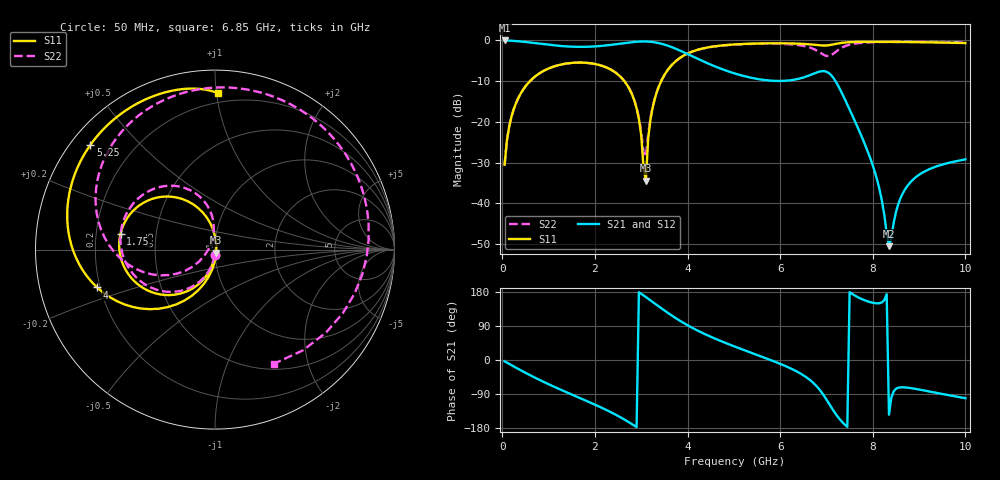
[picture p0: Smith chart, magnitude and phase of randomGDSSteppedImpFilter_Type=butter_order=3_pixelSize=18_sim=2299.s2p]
! freq	dB(S11)	phase(S11)	dB(S12)	phase(S12)
!  dB(S21)	phase(S21)	dB(S22)	phase(S22)
!S-par simulation data
#  GHz  S  DB  R 50
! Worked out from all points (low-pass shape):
!   200 points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, 50 MHz to 10 GHz, reference 50 ohm
!   highest |S21| = -0.01 dB at 50 MHz (marker M1); lowest = -50.5 dB at 8.35 GHz (marker M2)
!   |S21| within 3 dB of the highest: start of sweep to 3.936 GHz
!   lowest |S11| = -34.5 dB at 3.1 GHz (marker M3), VSWR 1.04, Z = 50.6 - j1.79 ohm
!   |S11| at or under -10 dB: start of sweep to 597.4 MHz; 2.636 GHz to 3.432 GHz (796 MHz wide, 26.2 % of centre)
!   |S22| runs from -30.5 to -0.3 dB; largest |S21 - S12| = 0
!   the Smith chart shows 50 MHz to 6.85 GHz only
!   S11 on the Smith chart (normalised r, x): 50 MHz: 0.99, -0.06; 1.75 GHz: 0.31, +0.08; 4 GHz: 0.19, -0.15; 5.25 GHz: 0.06, +0.36; 6.85 GHz: 0.14, +1.01
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0.05  -30.50 -93.6  -0.01 -3.5  -0.01 -3.5  -30.51 -93.9
0.2  -18.63 -103.9  -0.08 -13.8  -0.08 -13.8  -18.63 -105.1
0.5  -11.28 -123.0  -0.38 -33.7  -0.38 -33.7  -11.28 -125.9
1.75  -5.45 170.5  -1.57 -104.2  -1.57 -104.2  -5.45 160.2
2.75  -12.02 112.1  -0.49 -165.4  -0.49 -165.4  -11.96 100.2
2.95  -19.27 95.0  -0.29 178.8  -0.29 178.8  -18.93 93.3
3.1  -34.46 -69.5  -0.26 166.1  -0.26 166.1  -28.56 -179.3
3.2  -19.37 -97.5  -0.33 157.3  -0.33 157.3  -19.01 -143.1
3.4  -10.77 -116.8  -0.71 139.6  -0.71 139.6  -10.73 -150.8
4  -3.22 -162.2  -3.35 91.7  -3.35 91.7  -3.23 163.0
5.05  -0.96 147.4  -8.22 34.0  -8.22 34.0  -0.99 100.5
5.25  -0.85 140.0  -8.84 24.8  -8.84 24.8  -0.89 89.9
6.1  -0.71 111.2  -9.91 -15.2  -9.91 -15.2  -0.88 40.0
6.7  -1.02 92.5  -8.27 -58.7  -8.27 -58.7  -1.99 -26.5
6.85  -1.19 88.9  -7.65 -78.2  -7.65 -78.2  -2.90 -62.9
7  -1.24 86.5  -7.68 -104.2  -7.68 -104.2  -3.82 -119.3
7.15  -0.98 83.9  -9.21 -133.4  -9.21 -133.4  -3.25 174.7
7.45  -0.47 73.9  -15.73 -176.2  -15.73 -176.2  -1.21 93.9
8.05  -0.33 52.8  -32.50 150.0  -32.50 150.0  -0.42 34.3
8.35  -0.35 42.7  -50.52 -144.2  -50.52 -144.2  -0.36 17.2
8.8  -0.40 27.6  -34.99 -73.7  -34.99 -73.7  -0.35 -3.4
10  -0.65 -13.4  -29.20 -100.9  -29.20 -100.9  -0.48 -46.7
